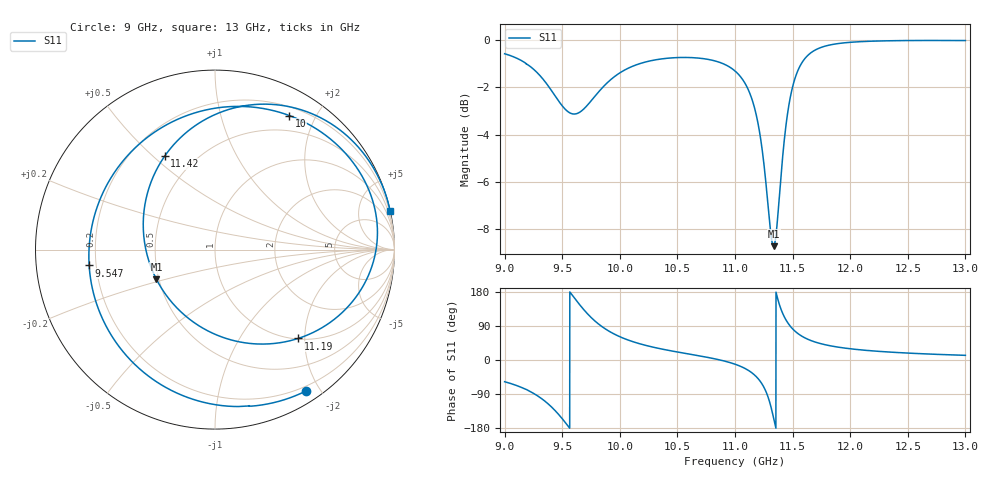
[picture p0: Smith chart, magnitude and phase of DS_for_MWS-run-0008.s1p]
! TOUCHSTONE file generated by CST DESIGN STUDIO
! Date and time: Tue Feb  4 13:35:34 2025
! Project name: C:\Work\MatlabApps\UnitCellOptimizationMatlab\CST\unitcell.cst
! Tree item: Tasks\Sweep1\SPara1\S-Parameters
! Header version: 2024
! Port assignment regex: !\s*Touchstone port\s*([0-9]+)\s*=\s*(CST MWS port|CST DES external port|CST DES block port)\s*(.+)\s* \(\"(.*)\"\)(\s*mode\s*([0-9]+))?.*
! Touchstone port assignment:
! Touchstone port 1 = CST DES external port 1 ("")
# GHz S MA R 50
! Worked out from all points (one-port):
!   4001 points, 9 GHz to 13 GHz, reference 50 ohm
!   lowest |S11| = -8.7 dB at 11.34 GHz (marker M1), VSWR 2.15, Z = 24.2 - j9.29 ohm
!   |S11| at or under -10 dB: nowhere
!   S11 on the Smith chart (normalised r, x): 9 GHz: 0.14, -1.82; 9.547 GHz: 0.17, -0.06; 10 GHz: 0.30, +1.66; 11.19 GHz: 1.01, -1.85; 11.42 GHz: 0.34, +0.55; 13 GHz: 0.04, +9.28
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9  0.9366 -57.3
9.174  0.8975 -76.1
9.304  0.8434 -98.2
9.403  0.785 -122.7
9.5  0.7264 -154.8
9.547  0.7067 -172.8
9.636  0.7006 151.8
9.755  0.7462 111.0
9.86  0.7988 85.0
10  0.853 61.5
10.004  0.8543 60.9
10.216  0.8987 39.3
10.5  0.9193 21.1
10.793  0.9085 5.1
11  0.861 -11.1
11.111  0.79 -26.5
11.194  0.6777 -46.9
11.271  0.4909 -84.9
11.335  0.366 -153.0
11.376  0.4375 155.7
11.421  0.5916 118.3
11.458  0.7041 98.2
11.5  0.7967 82.3
11.584  0.8989 62.2
11.684  0.9501 48.6
12  0.9904 29.7
12.5  0.999 18.2
13  0.999 12.3
